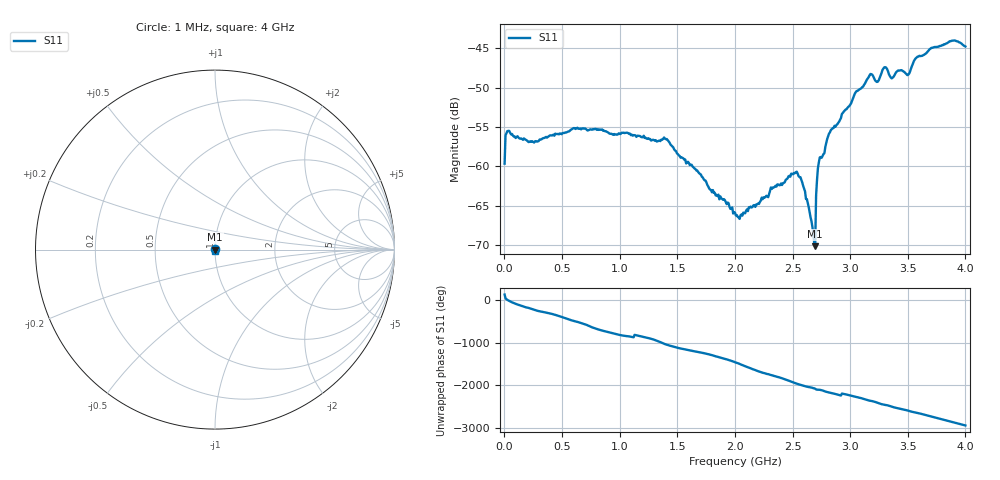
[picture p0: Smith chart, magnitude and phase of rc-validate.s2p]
!Created with skrf (http://scikit-rf.org).
# GHz S DB R 50.0
!freq dBS11 angS11
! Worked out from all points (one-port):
!   501 points, 1 MHz to 4 GHz, reference 50 ohm
!   lowest |S11| = -70.2 dB at 2.696 GHz (marker M1), VSWR 1.00, Z = 50 + j0.0302 ohm
!   |S11| at or under -10 dB: start of sweep to end of sweep
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0.001  -59.67 139.4
0.032992  -55.49 0.8
0.24094  -56.82 154.1
0.504874  -55.77 -36.2
0.616846  -55.26 -134.4
1.00075  -55.90 -94.6
1.40065  -56.56 42.9
1.504624  -58.45 -38.4
2.0005  -65.90 -18.4
2.048488  -66.24 -67.2
2.504374  -61.02 -132.5
2.584354  -62.07 155.7
2.68033  -68.62 89.6
2.696326  -70.17 77.0
2.72032  -60.22 53.0
2.736316  -58.88 52.5
2.824294  -55.68 -15.5
3.00025  -52.18 -82.3
3.176206  -48.25 152.5
3.232192  -49.27 110.0
3.304174  -47.39 55.8
3.36016  -48.82 15.5
3.424144  -47.82 -28.2
3.504124  -48.35 -81.5
3.568108  -46.27 -125.1
3.712072  -44.93 136.7
3.896026  -44.02 2.5
4  -44.76 -69.3
